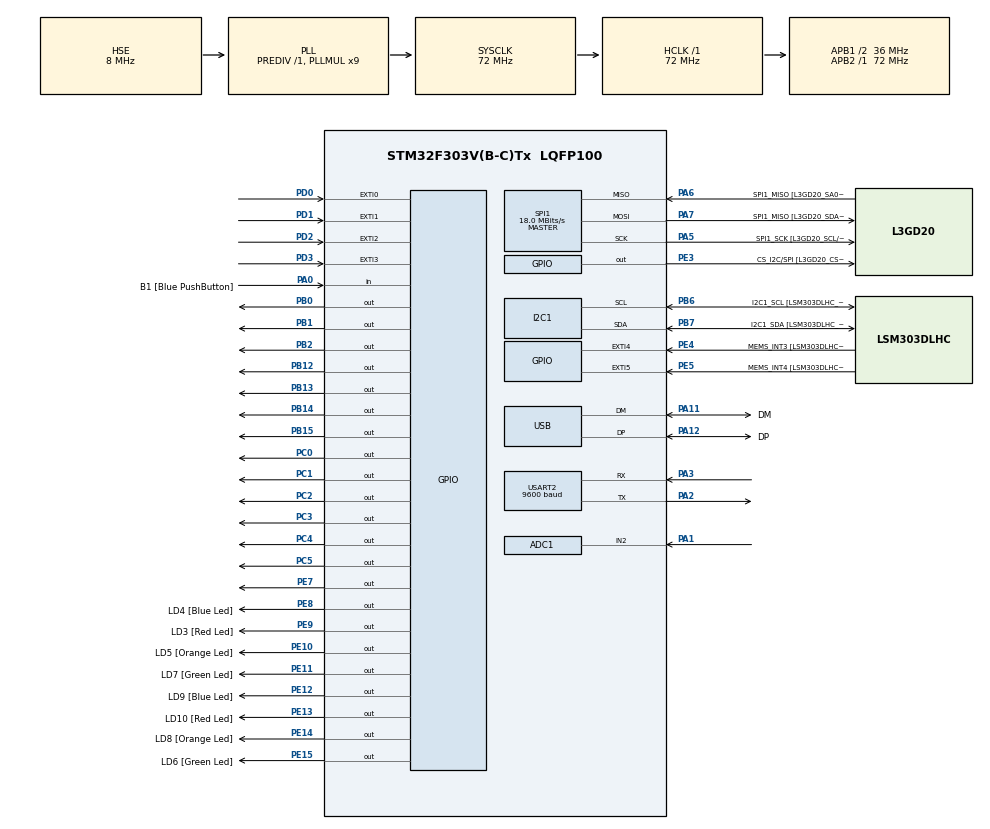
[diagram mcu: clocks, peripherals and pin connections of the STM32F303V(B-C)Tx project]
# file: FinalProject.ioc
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ADC1.Channel-0\#ChannelRegularConversion=ADC_CHANNEL_2
ADC1.NbrOfConversionFlag=1
ADC1.Offset-0\#ChannelRegularConversion=0
ADC1.OffsetNumber-0\#ChannelRegularConversion=ADC_OFFSET_NONE
ADC1.Rank-0\#ChannelRegularConversion=1
ADC1.SamplingTime-0\#ChannelRegularConversion=ADC_SAMPLETIME_601CYCLES_5
ADC1.SamplingTimeOPAMP-0\#ChannelRegularConversion=ADC_SAMPLETIME_19CYCLES_5
ADC1.master=1
I2C1.Timing-I2C=0x2000090E
Mcu.Family=STM32F3
Mcu.Name=STM32F303V(B-C)Tx
Mcu.Package=LQFP100
NVIC.ADC1_2_IRQn=true\:2\:0\:true\:false\:true\:true\:true
NVIC.EXTI0_IRQn=true\:1\:0\:true\:false\:true\:true\:true
NVIC.EXTI1_IRQn=true\:1\:0\:true\:false\:true\:true\:true
NVIC.EXTI2_TSC_IRQn=true\:1\:0\:true\:false\:true\:true\:true
NVIC.EXTI3_IRQn=true\:1\:0\:true\:false\:true\:true\:true
NVIC.PriorityGroup=NVIC_PRIORITYGROUP_2
NVIC.TIM2_IRQn=true\:2\:1\:true\:false\:true\:true\:true
NVIC.TIM3_IRQn=true\:2\:0\:true\:false\:true\:true\:true
NVIC.TIM4_IRQn=true\:1\:0\:true\:false\:true\:true\:true
NVIC.USART2_IRQn=true\:0\:0\:true\:false\:true\:true\:true
PA0.GPIO_Label=B1 [Blue PushButton]
PA0.Signal=GPIO_Input
PA1.Mode=IN2-Single-Ended
PA1.Signal=ADC1_IN2
PA11.GPIO_Label=DM
PA11.Mode=Device
PA11.Signal=USB_DM
PA12.GPIO_Label=DP
PA12.Mode=Device
PA12.Signal=USB_DP
PA13.GPIO_Label=SWDIO
PA13.Mode=Serial_Wire
PA13.Signal=SYS_JTMS-SWDIO
PA14.GPIO_Label=SWCLK
PA14.Mode=Serial_Wire
PA14.Signal=SYS_JTCK-SWCLK
PA2.Mode=Asynchronous
PA2.Signal=USART2_TX
PA3.Mode=Asynchronous
PA3.Signal=USART2_RX
PA5.GPIO_Label=SPI1_SCK [L3GD20_SCL/SPC]
PA5.Mode=Full_Duplex_Master
PA5.Signal=SPI1_SCK
PA6.GPIO_Label=SPI1_MISO [L3GD20_SA0/SDO]
PA6.Mode=Full_Duplex_Master
PA6.Signal=SPI1_MISO
PA7.GPIO_Label=SPI1_MISO [L3GD20_SDA/SDI/SDO]
PA7.Mode=Full_Duplex_Master
PA7.Signal=SPI1_MOSI
PB0.Signal=GPIO_Output
PB1.Signal=GPIO_Output
PB12.Signal=GPIO_Output
PB13.Signal=GPIO_Output
PB14.Signal=GPIO_Output
PB15.Signal=GPIO_Output
PB2.Signal=GPIO_Output
PB3.GPIO_Label=SWO
PB3.Signal=SYS_JTDO-TRACESWO
PB6.GPIO_Label=I2C1_SCL [LSM303DLHC_SCL]
PB6.Mode=I2C
PB6.Signal=I2C1_SCL
PB7.GPIO_Label=I2C1_SDA [LSM303DLHC_SDA]
PB7.Mode=I2C
PB7.Signal=I2C1_SDA
PC0.Signal=GPIO_Output
PC1.Signal=GPIO_Output
PC14-OSC32_IN.GPIO_Label=OSC32_IN
PC14-OSC32_IN.Signal=RCC_OSC32_IN
PC15-OSC32_OUT.GPIO_Label=OSC32_OUT
PC15-OSC32_OUT.Signal=RCC_OSC32_OUT
PC2.Signal=GPIO_Output
PC3.Signal=GPIO_Output
PC4.Signal=GPIO_Output
PC5.Signal=GPIO_Output
PD0.GPIO_PuPd=GPIO_PULLDOWN
PD0.Signal=GPXTI0
PD1.GPIO_PuPd=GPIO_PULLDOWN
PD1.Signal=GPXTI1
PD2.GPIO_PuPd=GPIO_PULLDOWN
PD2.Signal=GPXTI2
PD3.GPIO_PuPd=GPIO_PULLDOWN
PD3.Signal=GPXTI3
PE10.GPIO_Label=LD5 [Orange Led]
PE10.Signal=GPIO_Output
PE11.GPIO_Label=LD7 [Green Led]
PE11.Signal=GPIO_Output
PE12.GPIO_Label=LD9 [Blue Led]
PE12.Signal=GPIO_Output
PE13.GPIO_Label=LD10 [Red Led]
PE13.Signal=GPIO_Output
PE14.GPIO_Label=LD8 [Orange Led]
PE14.Signal=GPIO_Output
PE15.GPIO_Label=LD6 [Green Led]
PE15.Signal=GPIO_Output
PE3.GPIO_Label=CS_I2C/SPI [L3GD20_CS_I2C/SPI]
PE3.Signal=GPIO_Output
PE4.GPIO_Label=MEMS_INT3 [LSM303DLHC_INT1]
PE4.GPIO_ModeDefaultEXTI=GPIO_MODE_EVT_RISING
PE4.Signal=GPXTI4
PE5.GPIO_Label=MEMS_INT4 [LSM303DLHC_INT2]
PE5.GPIO_ModeDefaultEXTI=GPIO_MODE_EVT_RISING
PE5.Signal=GPXTI5
PE7.Signal=GPIO_Output
PE8.GPIO_Label=LD4 [Blue Led]
PE8.Signal=GPIO_Output
PE9.GPIO_Label=LD3 [Red Led]
PE9.Signal=GPIO_Output
PF0-OSC_IN.GPIO_Label=OSC_IN
PF0-OSC_IN.Mode=HSE-External-Clock-Source
PF0-OSC_IN.Signal=RCC_OSC_IN
PF1-OSC_OUT.GPIO_Label=OSC_OUT
PF1-OSC_OUT.Signal=RCC_OSC_OUT
ProjectManager.HeapSize=0x200
ProjectManager.StackSize=0x400
ProjectManager.TargetToolchain=STM32CubeIDE
RCC.AHBFreq_Value=72000000
RCC.APB1CLKDivider=RCC_HCLK_DIV2
RCC.APB1Freq_Value=36000000
RCC.APB1TimFreq_Value=72000000
RCC.APB2Freq_Value=72000000
RCC.APB2TimFreq_Value=72000000
RCC.CortexFreq_Value=72000000
RCC.HCLKFreq_Value=72000000
RCC.HSE_VALUE=8000000
RCC.HSI_VALUE=8000000
RCC.LSE_VALUE=32768
RCC.PLLMUL=RCC_PLL_MUL9
RCC.PRESCALERUSB=RCC_USBCLKSOURCE_PLL_DIV1_5
RCC.SYSCLKFreq_VALUE=72000000
RCC.SYSCLKSourceVirtual=RCC_SYSCLKSOURCE_PLLCLK
RCC.USBFreq_Value=48000000
SPI1.BaudRatePrescaler=SPI_BAUDRATEPRESCALER_4
SPI1.BaudRatePrescaler-Full_Duplex_Master=SPI_BAUDRATEPRESCALER_2
SPI1.CalculateBaudRate=18.0 MBits/s
SPI1.CalculateBaudRate-Full_Duplex_Master=24.0 MBits/s
SPI1.Direction=SPI_DIRECTION_2LINES
SPI1.Mode=SPI_MODE_MASTER
SPI1.Mode-Full_Duplex_Master=SPI_MODE_MASTER
SPI1.VirtualType=VM_MASTER
TIM2.Period=10000
TIM2.Prescaler=3599
TIM3.Period=10000
TIM3.Prescaler=3599
TIM4.Period=100
TIM4.Prescaler=7199
USART2.BaudRate=9600
USART2.VirtualMode-Asynchronous=VM_ASYNC
VP_TIM2_VS_ClockSourceINT.Mode=Internal
VP_TIM3_VS_ClockSourceINT.Mode=Internal
VP_TIM4_VS_ClockSourceINT.Mode=Internal
board=STM32F3DISCOVERY

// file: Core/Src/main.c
/* USER CODE BEGIN Header */
/**
  ******************************************************************************
  * @file           : main.c
  * @brief          : Main program body
  ******************************************************************************
  * @attention
  *
  * <h2><center>&copy; Copyright (c) 2021 STMicroelectronics.
  * All rights reserved.</center></h2>
  *
  * This software component is licensed by ST under BSD 3-Clause license,
  * the "License"; You may not use this file except in compliance with the
  * License. You may obtain a copy of the License at:
  *                        opensource.org/licenses/BSD-3-Clause
  *
  ******************************************************************************
  */
/* USER CODE END Header */
#include "main.h"

/* USER CODE BEGIN Includes */
#include <stdio.h>
#include <stdlib.h>
#include <time.h>
/* USER CODE END Includes */

/* USER CODE BEGIN PM */
uint32_t lastShow = 0;
uint32_t delay123 = 0;
uint32_t delayAdc1 = 0;
uint32_t delaySpeed = 0;
uint32_t jumpDelay = 0;
unsigned char uartData[1];
unsigned char massage[100];
int coinsNumber = 47;
int speed = 35;
int action = 0;
int jump = 0;
int pause = 0;
int four = 1;
int game = 0;
int map[4][60];
int position[2] = {2, 2};
int lastPosition[2] = {2, 2};
int startGamebutton = 0;
int icounter = 0;
int life = 3;
int lastLife = 3;
/* USER CODE END PM */

ADC_HandleTypeDef hadc1;

I2C_HandleTypeDef hi2c1;

SPI_HandleTypeDef hspi1;

TIM_HandleTypeDef htim2;
TIM_HandleTypeDef htim3;
TIM_HandleTypeDef htim4;

UART_HandleTypeDef huart2;

PCD_HandleTypeDef hpcd_USB_FS;

/* USER CODE BEGIN PV */

typedef unsigned char byte;

byte blade[] = {
	0x18,
	0x1C,
	0x1F,
	0x1C,
	0x18,
	0x1C,
	0x1F,
	0x1C
};

byte mario[] = {
  0x0E,
  0x0E,
  0x04,
  0x0E,
  0x1F,
  0x15,
  0x0E,
  0x1B
};

byte brick[] = {
  0x1F,
  0x15,
  0x0A,
  0x15,
  0x0A,
  0x15,
  0x0A,
  0x1F
};

byte box[] = {
  0x1F,
  0x15,
  0x1B,
  0x13,
  0x15,
  0x11,
  0x15,
  0x1F
};

byte ground[] = {
  0x1F,
  0x1B,
  0x0B,
  0x1E,
  0x17,
  0x0F,
  0x1D,
  0x1F
};

byte leftPipe[] = {
  0x1F,
  0x1F,
  0x1F,
  0x1F,
  0x1F,
  0x1F,
  0x0F,
  0x0F
};

byte rightPipe[] = {
  0x1F,
  0x1F,
  0x1F,
  0x1F,
  0x1F,
  0x1F,
  0x1E,
  0x1E
};

byte flag[] = {
  0x1F,
  0x15,
  0x0B,
  0x05,
  0x03,
  0x01,
  0x01,
  0x01
};

/* USER CODE END PV */

void SystemClock_Config(void);
static void MX_GPIO_Init(void);
static void MX_I2C1_Init(void);
static void MX_SPI1_Init(void);
static void MX_USB_PCD_Init(void);
static void MX_USART2_UART_Init(void);
static void MX_ADC1_Init(void);
static void MX_TIM4_Init(void);
static void MX_TIM2_Init(void);
static void MX_TIM3_Init(void);

/* USER CODE BEGIN 0 */

void HAL_GPIO_EXTI_Callback(uint16_t GPIO_Pin)
{
	if(HAL_GetTick() > lastShow + 300 ){

		if (GPIO_Pin == GPIO_PIN_0)
		{
			for(int i = 0 ; i < 4 ; i++){
				HAL_GPIO_WritePin(GPIOC, GPIO_PIN_0, GPIO_PIN_RESET);
				HAL_GPIO_WritePin(GPIOC, GPIO_PIN_1, GPIO_PIN_RESET);
				HAL_GPIO_WritePin(GPIOC, GPIO_PIN_2, GPIO_PIN_RESET);
				HAL_GPIO_WritePin(GPIOC, GPIO_PIN_3, GPIO_PIN_RESET);
				//S1
				if(i == 0){
				  HAL_GPIO_WritePin(GPIOC, GPIO_PIN_0, GPIO_PIN_SET);
				  if(HAL_GPIO_ReadPin(GPIOD, GPIO_PIN_0)){
//					  print("7");
					  action = 7;
				  }
				}
				//S2
				else if(i == 1){
				  HAL_GPIO_WritePin(GPIOC, GPIO_PIN_1, GPIO_PIN_SET);
				  if(HAL_GPIO_ReadPin(GPIOD, GPIO_PIN_0)){
					  if(game == 1 && pause != 1){
						  HAL_GPIO_TogglePin(GPIOE, GPIO_PIN_7);
						  action = 8;
					  }
				  }
				}
				//S3
				else if(i == 2){
				  HAL_GPIO_WritePin(GPIOC, GPIO_PIN_2, GPIO_PIN_SET);
				  if(HAL_GPIO_ReadPin(GPIOD, GPIO_PIN_0)){
//					  print("9");
					  action = 9;
				  }
				}
				//S4
				else if(i == 3){
				  HAL_GPIO_WritePin(GPIOC, GPIO_PIN_3, GPIO_PIN_SET);
				  if(HAL_GPIO_ReadPin(GPIOD, GPIO_PIN_0)){
//					  print("A");
					  life--;
				  }
				}
			}
			HAL_GPIO_WritePin(GPIOC, GPIO_PIN_0, GPIO_PIN_SET);
			HAL_GPIO_WritePin(GPIOC, GPIO_PIN_1, GPIO_PIN_SET);
			HAL_GPIO_WritePin(GPIOC, GPIO_PIN_2, GPIO_PIN_SET);
			HAL_GPIO_WritePin(GPIOC, GPIO_PIN_3, GPIO_PIN_SET);
		}
		if (GPIO_Pin == GPIO_PIN_1)
		{
			for(int i = 0 ; i < 4 ; i++){
				HAL_GPIO_WritePin(GPIOC, GPIO_PIN_0, GPIO_PIN_RESET);
				HAL_GPIO_WritePin(GPIOC, GPIO_PIN_1, GPIO_PIN_RESET);
				HAL_GPIO_WritePin(GPIOC, GPIO_PIN_2, GPIO_PIN_RESET);
				HAL_GPIO_WritePin(GPIOC, GPIO_PIN_3, GPIO_PIN_RESET);
				//S5
				if(i == 0){
				  HAL_GPIO_WritePin(GPIOC, GPIO_PIN_0, GPIO_PIN_SET);
				  if(HAL_GPIO_ReadPin(GPIOD, GPIO_PIN_1)){
//					  print("4");
					  action = 4;
				  }
				}
				//S6
				else if(i == 1){
				  HAL_GPIO_WritePin(GPIOC, GPIO_PIN_1, GPIO_PIN_SET);
				  if(HAL_GPIO_ReadPin(GPIOD, GPIO_PIN_1)){
//					  print("5");
					  if(pause == 0){
						  pause = 1;
					  }else{
						  pause = 0;
					  }
					  action = 5;
				  }
				}
				//S7
				else if(i == 2){
				  HAL_GPIO_WritePin(GPIOC, GPIO_PIN_2, GPIO_PIN_SET);
				  if(HAL_GPIO_ReadPin(GPIOD, GPIO_PIN_1)){
//					  print("6");
					  action = 6;
				  }
				}
				//S8
				else if(i == 3){
				  HAL_GPIO_WritePin(GPIOC, GPIO_PIN_3, GPIO_PIN_SET);
				  if(HAL_GPIO_ReadPin(GPIOD, GPIO_PIN_1)){
//					  print("B");
				  }
				}
			}
			HAL_GPIO_WritePin(GPIOC, GPIO_PIN_0, GPIO_PIN_SET);
			HAL_GPIO_WritePin(GPIOC, GPIO_PIN_1, GPIO_PIN_SET);
			HAL_GPIO_WritePin(GPIOC, GPIO_PIN_2, GPIO_PIN_SET);
			HAL_GPIO_WritePin(GPIOC, GPIO_PIN_3, GPIO_PIN_SET);
		}
		if (GPIO_Pin == GPIO_PIN_2)
		{
			for(int i = 0 ; i < 4 ; i++){
				HAL_GPIO_WritePin(GPIOC, GPIO_PIN_0, GPIO_PIN_RESET);
				HAL_GPIO_WritePin(GPIOC, GPIO_PIN_1, GPIO_PIN_RESET);
				HAL_GPIO_WritePin(GPIOC, GPIO_PIN_2, GPIO_PIN_RESET);
				HAL_GPIO_WritePin(GPIOC, GPIO_PIN_3, GPIO_PIN_RESET);
				//S9
				if(i == 0){
				  HAL_GPIO_WritePin(GPIOC, GPIO_PIN_0, GPIO_PIN_SET);
				  if(HAL_GPIO_ReadPin(GPIOD, GPIO_PIN_2)){
//					  print("1");
					  action = 1;
				  }
				}
				//S10
				else if(i == 1){
				  HAL_GPIO_WritePin(GPIOC, GPIO_PIN_1, GPIO_PIN_SET);
				  if(HAL_GPIO_ReadPin(GPIOD, GPIO_PIN_2)){
//					  print("2");
					  action = 2;
				  }
				}
				//S11
				else if(i == 2){
				  HAL_GPIO_WritePin(GPIOC, GPIO_PIN_2, GPIO_PIN_SET);
				  if(HAL_GPIO_ReadPin(GPIOD, GPIO_PIN_2)){
//					  print("3");
					  action = 3;
				  }
				}
				//S12
				else if(i == 3){
				  HAL_GPIO_WritePin(GPIOC, GPIO_PIN_3, GPIO_PIN_SET);
				  if(HAL_GPIO_ReadPin(GPIOD, GPIO_PIN_2)){
//					  print("C");
				  }
				}
			}
			HAL_GPIO_WritePin(GPIOC, GPIO_PIN_0, GPIO_PIN_SET);
			HAL_GPIO_WritePin(GPIOC, GPIO_PIN_1, GPIO_PIN_SET);
			HAL_GPIO_WritePin(GPIOC, GPIO_PIN_2, GPIO_PIN_SET);
			HAL_GPIO_WritePin(GPIOC, GPIO_PIN_3, GPIO_PIN_SET);
		}
		if (GPIO_Pin == GPIO_PIN_3)
		{
			for(int i = 0 ; i < 4 ; i++){
				HAL_GPIO_WritePin(GPIOC, GPIO_PIN_0, GPIO_PIN_RESET);
				HAL_GPIO_WritePin(GPIOC, GPIO_PIN_1, GPIO_PIN_RESET);
				HAL_GPIO_WritePin(GPIOC, GPIO_PIN_2, GPIO_PIN_RESET);
				HAL_GPIO_WritePin(GPIOC, GPIO_PIN_3, GPIO_PIN_RESET);
				//S13
				if(i == 0){
				  HAL_GPIO_WritePin(GPIOC, GPIO_PIN_0, GPIO_PIN_SET);
				  if(HAL_GPIO_ReadPin(GPIOD, GPIO_PIN_3)){
//					  print("E");
					  game = 2;
				  }
				}
				//S14
				else if(i == 1){
				  HAL_GPIO_WritePin(GPIOC, GPIO_PIN_1, GPIO_PIN_SET);
				  if(HAL_GPIO_ReadPin(GPIOD, GPIO_PIN_3)){
//					  print("0");
					  action = 0;
				  }
				}
				//S15
				else if(i == 2){
				  HAL_GPIO_WritePin(GPIOC, GPIO_PIN_2, GPIO_PIN_SET);
				  if(HAL_GPIO_ReadPin(GPIOD, GPIO_PIN_3)){
//					  print("S");
					  if(game == 0){
						  startGamebutton = 1;
						  coinsNumber = 0;
					  }
				  	}
				}
				//S16
				else if(i == 3){
				  HAL_GPIO_WritePin(GPIOC, GPIO_PIN_3, GPIO_PIN_SET);
				  if(HAL_GPIO_ReadPin(GPIOD, GPIO_PIN_3)){
//					  print("D");
					  coinsNumber++;
				  }
				}
			}
			HAL_GPIO_WritePin(GPIOC, GPIO_PIN_0, GPIO_PIN_SET);
			HAL_GPIO_WritePin(GPIOC, GPIO_PIN_1, GPIO_PIN_SET);
			HAL_GPIO_WritePin(GPIOC, GPIO_PIN_2, GPIO_PIN_SET);
			HAL_GPIO_WritePin(GPIOC, GPIO_PIN_3, GPIO_PIN_SET);
		}

		lastShow = HAL_GetTick();
	}

}

void HAL_UART_RxCpltCallback(UART_HandleTypeDef *huart)
{
    if (huart->Instance == USART2)
    {
    	switch (uartData[0]){
    		case '1':
    			//TODO
    			action = 1;
    			break;
    		case '2':
    			//TODO
    			action = 2;
    			break;
    		case '3':
    			//TODO
    			action = 3;
    			break;
    		case '4':
    			//TODO
    			action = 4;
    			break;
    		case '5':
    			//TODO
				if(pause == 0){
					pause = 1;
				}else{
					pause = 0;
				}
    			action = 5;
    			break;
    		case '6':
    			//TODO
    			action = 6;
    			break;
    		case '7':
    			//TODO
    			action = 7;
    			break;
    		case '8':
    			//TODO
    			HAL_GPIO_TogglePin(GPIOE, GPIO_PIN_7);
    			action = 8;
    			break;
    		case '9':
    			//TODO
    			action = 9;
    			break;
    	}
        HAL_UART_Receive_IT(&huart2, uartData, sizeof(uartData));
    }
}

void HAL_TIM_PeriodElapsedCallback(TIM_HandleTypeDef *htim)
{
	////Mario
	if (htim->Instance == TIM3)
	{

		if(game == 1 && pause == 0){

			lastPosition[0] = position[0];
			lastPosition[1] = position[1];

			if(life == 2 && lastLife == 3){
				HAL_GPIO_WritePin(GPIOE, GPIO_PIN_11, 0);
				lastLife = 2;
			}
			if(life == 1  && lastLife == 2){
				HAL_GPIO_WritePin(GPIOE, GPIO_PIN_10, 0);
				lastLife = 1;
			}
			if(life == 0  && lastLife == 1){
				HAL_GPIO_WritePin(GPIOE, GPIO_PIN_9, 0);
//				game = 2;
				lastLife = 0;
				pause = 1;
				setCursor(1, 1);
				print("Life = 0 Game Over");
			}

			if(position[1] > icounter){
				setCursor(position[1] - icounter, position[0]);
				write(1);
			}
//			else{
//				setCursor(position[1] - icounter + 1, position[0]);
//				print(" ");
//				game = 2;
//			}
			switch(action){
				case 9:

					break;
				case 8:
					  if(map[position[0] - 1][position[1]] == -1){
						  if(map[position[0] - 2][position[1]] == -1){
							  jump = 2;
						  }else{
							  jump = 1;
						  }
					  }
					break;
				case 7:

					break;
				case 6:
					  if(map[position[0]][position[1] + 1] == -1){
//						  lastPosition[0] = position[0];
//						  lastPosition[1] = position[1];
						  position[1]++;
//						  map[lastPosition[0]][lastPosition[1]] = -1;
	//					  map[position[0]][position[1]] = 1;
					  }
					break;
				case 5:

					break;
				case 4:

					break;
				case 3:

					break;
				case 2:

					break;
				case 1:

					break;
				case 0:

					break;
			}
			action = 0;
			if(HAL_GetTick() > jumpDelay + (speed * 30) )
				if(jump != 0){
					if(jump == 1){

					}
					if(jump == 2){

					}
				}

			jumpDelay = HAL_GetTick();
		}
	}

	////Playground
	if (htim->Instance == TIM2)
	{
		////Behind The Game
		if(game == 0){
			if(startGamebutton == 1){
				//Set Values
				game = 1;
				startGamebutton = 0;

				HAL_GPIO_WritePin(GPIOE, GPIO_PIN_11, 1);
				HAL_GPIO_WritePin(GPIOE, GPIO_PIN_10, 1);
				HAL_GPIO_WritePin(GPIOE, GPIO_PIN_9, 1);
				//// Generating Random Map
			    srand(HAL_ADC_GetValue(&hadc1));
			    //pre-arranged
			    for(int i = 0 ; i < 4 ; i++){
			    	for(int j = 0 ; j < 60 ; j++){
			    		map[i][j] = -1;
			    	}
			    }
				map[3][0] = 4;
				map[3][1] = 4;
				map[3][2] = 4;
				map[3][3] = 4;
				map[2][0] = 0;
				map[1][0] = 0;
				map[0][0] = 0;
				map[2][58] = 7;
				//row 3
				for(int i = 4 ; i < 60 ; i++){
					int temp = 4*(rand()%5);
					if(temp == 0){
						map[3][i] = -1;
					}else{
						map[3][i] = 4;
					}

				}
				//row 2
				for(int i = 5 ; i < 56 ; i++){
					int temp = 5*(rand()%2);
					if(temp != 0 && map[2][i-1] != 6){
						if(map[3][i] == 4 && map[3][i+1] == 4 ){
							map[2][i] = 5;
							i++;
							map[2][i] = 6;
						}
					}
				}
				//row 0
				for(int i = 3 ; i < 56 ; i++){
					int temp = 2*(rand()%3);
					if(temp == 2){
						map[0][i] = 2;
					}
					if(temp == 4){
						map[0][i] = 3;
					}
				}
				////Finish Generation

				clear();
				position[0] = 2;
				position[0] = 2;
				lastPosition[0] = 2;
				lastPosition[1] = 2;

			}
		}

		//// On the Game
		if(game == 1 && pause == 0){

			//**
			//Show the start

			if(icounter < 41 && HAL_GetTick() >= delaySpeed + 400 - (speed * 20)){
				setCursor(0, 3);
				write(map[3][icounter]);
				for(int j = 1 ; j < 20 ; j++){
					for(int k = 0 ; k < 4 ; k++){
						if(!((position[0] == k) && (position[1] == j + icounter))){
							if(map[k][j + icounter] != -1){
								setCursor(j, k);
								write(map[k][j + icounter]);
							}else{
								if(map[k][j + icounter - 1] != -1){
									setCursor(j, k);
									print(" ");
								}
							}
						}else{
							if(position[1] < icounter + 1){
								game = 2;
							}
						}
					}
				}
				for(int l = 0 ; l < 3 ; l++){
					setCursor(0, l);
					write(0);
				}

				icounter++;
			}
			//Game Over
			if (game == 2){
				setCursor(4, 1);
				sprintf(massage, "SPEED : %d", speed);
				print(massage);
				setCursor(4, 2);
				sprintf(massage, "SCORE : %d", coinsNumber);
				print(massage);
				setCursor(4, 3);
				print("Game Over");
			}

			////End Show
			// Win
			if( position[0] == 2 && position[1] == 58){
				game = 3;
			}
			if(game == 3 || icounter >= 41){
				clear();
				setCursor(4, 0);
				write(0xfc);
				setCursor(4, 1);
				sprintf(massage, "SPEED : %d", speed);
				print(massage);
				setCursor(4, 2);
				sprintf(massage, "SCORE : %d", coinsNumber);
				print(massage);
				setCursor(2, 3);
				print("Congratulations !");
			}

			delaySpeed = HAL_GetTick();

		}
	}
    if (htim->Instance == TIM4)
    {
		switch (four){
			case 1 :
				HAL_GPIO_WritePin(GPIOB, GPIO_PIN_12 , 1);
				HAL_GPIO_WritePin(GPIOB, GPIO_PIN_15 , 0);
				//write your code to do when first LED on
				int temp = speed / 10;
				toBCDConverter(temp % 10);
				four++;
				break;
			case 2 :
				HAL_GPIO_WritePin(GPIOB, GPIO_PIN_15 , 1);
				HAL_GPIO_WritePin(GPIOB, GPIO_PIN_14 , 0);
				HAL_GPIO_WritePin(GPIOB, GPIO_PIN_2 , 1);
				//write your code to do when second LED on
				toBCDConverter(speed % 10);
				four++;
				break;
			case 3 :
				HAL_GPIO_WritePin(GPIOB, GPIO_PIN_2 , 0);
				HAL_GPIO_WritePin(GPIOB, GPIO_PIN_14 , 1);
				HAL_GPIO_WritePin(GPIOB, GPIO_PIN_13 , 0);
				//write your code to do when thrid LED on
				temp = coinsNumber / 10;
				toBCDConverter(temp % 10);
				four++;
				break;
			case 4 :
				HAL_GPIO_WritePin(GPIOB, GPIO_PIN_13 , 1);
				HAL_GPIO_WritePin(GPIOB, GPIO_PIN_12 , 0);
				//write your code to do when forth LED on
				toBCDConverter(coinsNumber % 10);
				four = 1;
				break;
		}

    }

}

void HAL_ADC_ConvCpltCallback(ADC_HandleTypeDef *hadc)
{
    if (hadc->Instance == ADC1)
    {
//    	if(HAL_GetTick() >= delayAdc1 + 250 ){

			int x = HAL_ADC_GetValue(&hadc1);
			speed = (x*15/4014)+5;
			unsigned char data[100] = "";
			int n = sprintf(data, "%d : %d\n", x, speed);
			HAL_UART_Transmit(&huart2, data, n, 1000);

//    	}
//			float fx = ((float) x * 100/4014);

//			HAL_UART_Transmit(&huart2, data, n, 1000);
//    	}

//    	delayAdc1 = HAL_GetTick();
		HAL_ADC_Start_IT(&hadc1);

    }
}

void toBCDConverter(int i){
	int x1 = i & 1;
	int x2 = i & 2;
	int x3 = i & 4;
	int x4 = i & 8;
	if(x1 > 0) x1 = 1;
	if(x2 > 0) x2 = 1;
	if(x3 > 0) x3 = 1;
	if(x4 > 0) x4 = 1;
	HAL_GPIO_WritePin(GPIOC, GPIO_PIN_4, x1);
	HAL_GPIO_WritePin(GPIOC, GPIO_PIN_5, x2);
	HAL_GPIO_WritePin(GPIOB, GPIO_PIN_0, x3);
	HAL_GPIO_WritePin(GPIOB, GPIO_PIN_1, x4);
}

/* USER CODE END 0 */

int main(void)
{

  /* MCU Configuration--------------------------------------------------------*/

  /* Reset of all peripherals, Initializes the Flash interface and the Systick. */
  HAL_Init();

  /* Configure the system clock */
  SystemClock_Config();

  /* Initialize all configured peripherals */
  MX_GPIO_Init();
  MX_I2C1_Init();
  MX_SPI1_Init();
  MX_USB_PCD_Init();
  MX_USART2_UART_Init();
  MX_ADC1_Init();
  MX_TIM4_Init();
  MX_TIM2_Init();
  MX_TIM3_Init();
  /* USER CODE BEGIN 2 */

  LiquidCrystal(GPIOD, GPIO_PIN_8, GPIO_PIN_9, GPIO_PIN_10, GPIO_PIN_11, GPIO_PIN_12, GPIO_PIN_13, GPIO_PIN_14);
  begin(20, 4);

  HAL_ADC_Start_IT(&hadc1);
  HAL_TIM_Base_Start_IT(&htim2);
  HAL_TIM_Base_Start_IT(&htim3);
  HAL_TIM_Base_Start_IT(&htim4);
  HAL_UART_Receive_IT(&huart2, uartData, sizeof(uartData));
  HAL_GPIO_WritePin(GPIOE, GPIO_PIN_7, 1);
  /* USER CODE END 2 */

  /* Infinite loop */
  /* USER CODE BEGIN WHILE */
  HAL_GPIO_WritePin(GPIOC, GPIO_PIN_0, GPIO_PIN_SET);
  HAL_GPIO_WritePin(GPIOC, GPIO_PIN_1, GPIO_PIN_SET);
  HAL_GPIO_WritePin(GPIOC, GPIO_PIN_2, GPIO_PIN_SET);
  HAL_GPIO_WritePin(GPIOC, GPIO_PIN_3, GPIO_PIN_SET);

  createChar(0, blade);
  createChar(1, mario);
  createChar(2, brick);
  createChar(3, box);
  createChar(4, ground);
  createChar(5, leftPipe);
  createChar(6, rightPipe);
  createChar(7, flag);

	setCursor(2, 2);
	write(1);
	setCursor(0, 3);
	write(4);
	setCursor(1, 3);
	write(4);
	setCursor(2, 3);
	write(4);
	setCursor(3, 3);
	write(4);
	setCursor(0, 2);
	write(0);
	setCursor(0, 1);
	write(0);
	setCursor(0, 0);
	write(0);
	setCursor(19, 2);
	write(7);
	//row 3
	for(int i = 4 ; i < 20 ; i++){
		int temp = 4*(rand()%5);
		if(temp != 0){
			setCursor(i, 3);
			write(4);
		}
	}
	//row 2
	for(int i = 5 ; i < 16 ; i++){
		int temp = 5*(rand()%5);
		if(temp == 0){
			setCursor(i, 2);
			write(5);
			i++;
			setCursor(i, 2);
			write(6);
		}
	}
	//row 0
	for(int i = 3 ; i < 16 ; i++){
		int temp = 2*(rand()%3);
		if(temp == 2){
			setCursor(i, 0);
			write(2);
		}
		if(temp == 4){
			setCursor(i, 0);
			write(3);
		}
	}

	setCursor(2, 1);
	print("Press S To Start");
	setCursor(5, 1);

  while (1)
  {
    /* USER CODE END WHILE */

  }
}

void SystemClock_Config(void)
{
  RCC_OscInitTypeDef RCC_OscInitStruct = {0};
  RCC_ClkInitTypeDef RCC_ClkInitStruct = {0};
  RCC_PeriphCLKInitTypeDef PeriphClkInit = {0};

  /** Initializes the RCC Oscillators according to the specified parameters
  * in the RCC_OscInitTypeDef structure.
  */
  RCC_OscInitStruct.OscillatorType = RCC_OSCILLATORTYPE_HSI|RCC_OSCILLATORTYPE_HSE;
  RCC_OscInitStruct.HSEState = RCC_HSE_BYPASS;
  RCC_OscInitStruct.HSEPredivValue = RCC_HSE_PREDIV_DIV1;
  RCC_OscInitStruct.HSIState = RCC_HSI_ON;
  RCC_OscInitStruct.HSICalibrationValue = RCC_HSICALIBRATION_DEFAULT;
  RCC_OscInitStruct.PLL.PLLState = RCC_PLL_ON;
  RCC_OscInitStruct.PLL.PLLSource = RCC_PLLSOURCE_HSE;
  RCC_OscInitStruct.PLL.PLLMUL = RCC_PLL_MUL9;
  if (HAL_RCC_OscConfig(&RCC_OscInitStruct) != HAL_OK)
  {
    Error_Handler();
  }
  /** Initializes the CPU, AHB and APB buses clocks
  */
  RCC_ClkInitStruct.ClockType = RCC_CLOCKTYPE_HCLK|RCC_CLOCKTYPE_SYSCLK
                              |RCC_CLOCKTYPE_PCLK1|RCC_CLOCKTYPE_PCLK2;
  RCC_ClkInitStruct.SYSCLKSource = RCC_SYSCLKSOURCE_PLLCLK;
  RCC_ClkInitStruct.AHBCLKDivider = RCC_SYSCLK_DIV1;
  RCC_ClkInitStruct.APB1CLKDivider = RCC_HCLK_DIV2;
  RCC_ClkInitStruct.APB2CLKDivider = RCC_HCLK_DIV1;

  if (HAL_RCC_ClockConfig(&RCC_ClkInitStruct, FLASH_LATENCY_2) != HAL_OK)
  {
    Error_Handler();
  }
  PeriphClkInit.PeriphClockSelection = RCC_PERIPHCLK_USB|RCC_PERIPHCLK_USART2
                              |RCC_PERIPHCLK_I2C1|RCC_PERIPHCLK_ADC12;
  PeriphClkInit.Usart2ClockSelection = RCC_USART2CLKSOURCE_PCLK1;
  PeriphClkInit.Adc12ClockSelection = RCC_ADC12PLLCLK_DIV1;
  PeriphClkInit.I2c1ClockSelection = RCC_I2C1CLKSOURCE_HSI;
  PeriphClkInit.USBClockSelection = RCC_USBCLKSOURCE_PLL_DIV1_5;
  if (HAL_RCCEx_PeriphCLKConfig(&PeriphClkInit) != HAL_OK)
  {
    Error_Handler();
  }
}

static void MX_ADC1_Init(void)
{

  ADC_MultiModeTypeDef multimode = {0};
  ADC_ChannelConfTypeDef sConfig = {0};

  /** Common config
  */
  hadc1.Instance = ADC1;
  hadc1.Init.ClockPrescaler = ADC_CLOCK_ASYNC_DIV1;
  hadc1.Init.Resolution = ADC_RESOLUTION_12B;
  hadc1.Init.ScanConvMode = ADC_SCAN_DISABLE;
  hadc1.Init.ContinuousConvMode = DISABLE;
  hadc1.Init.DiscontinuousConvMode = DISABLE;
  hadc1.Init.ExternalTrigConvEdge = ADC_EXTERNALTRIGCONVEDGE_NONE;
  hadc1.Init.ExternalTrigConv = ADC_SOFTWARE_START;
  hadc1.Init.DataAlign = ADC_DATAALIGN_RIGHT;
  hadc1.Init.NbrOfConversion = 1;
  hadc1.Init.DMAContinuousRequests = DISABLE;
  hadc1.Init.EOCSelection = ADC_EOC_SINGLE_CONV;
  hadc1.Init.LowPowerAutoWait = DISABLE;
  hadc1.Init.Overrun = ADC_OVR_DATA_OVERWRITTEN;
  if (HAL_ADC_Init(&hadc1) != HAL_OK)
  {
    Error_Handler();
  }
  /** Configure the ADC multi-mode
  */
  multimode.Mode = ADC_MODE_INDEPENDENT;
  if (HAL_ADCEx_MultiModeConfigChannel(&hadc1, &multimode) != HAL_OK)
  {
    Error_Handler();
  }
  /** Configure Regular Channel
  */
  sConfig.Channel = ADC_CHANNEL_2;
  sConfig.Rank = ADC_REGULAR_RANK_1;
  sConfig.SingleDiff = ADC_SINGLE_ENDED;
  sConfig.SamplingTime = ADC_SAMPLETIME_601CYCLES_5;
  sConfig.OffsetNumber = ADC_OFFSET_NONE;
  sConfig.Offset = 0;
  if (HAL_ADC_ConfigChannel(&hadc1, &sConfig) != HAL_OK)
  {
    Error_Handler();
  }

}

static void MX_I2C1_Init(void)
{

  hi2c1.Instance = I2C1;
  hi2c1.Init.Timing = 0x2000090E;
  hi2c1.Init.OwnAddress1 = 0;
  hi2c1.Init.AddressingMode = I2C_ADDRESSINGMODE_7BIT;
  hi2c1.Init.DualAddressMode = I2C_DUALADDRESS_DISABLE;
  hi2c1.Init.OwnAddress2 = 0;
  hi2c1.Init.OwnAddress2Masks = I2C_OA2_NOMASK;
  hi2c1.Init.GeneralCallMode = I2C_GENERALCALL_DISABLE;
  hi2c1.Init.NoStretchMode = I2C_NOSTRETCH_DISABLE;
  if (HAL_I2C_Init(&hi2c1) != HAL_OK)
  {
    Error_Handler();
  }
  /** Configure Analogue filter
  */
  if (HAL_I2CEx_ConfigAnalogFilter(&hi2c1, I2C_ANALOGFILTER_ENABLE) != HAL_OK)
  {
    Error_Handler();
  }
  /** Configure Digital filter
  */
  if (HAL_I2CEx_ConfigDigitalFilter(&hi2c1, 0) != HAL_OK)
  {
    Error_Handler();
  }

}

static void MX_SPI1_Init(void)
{

  /* SPI1 parameter configuration*/
  hspi1.Instance = SPI1;
  hspi1.Init.Mode = SPI_MODE_MASTER;
  hspi1.Init.Direction = SPI_DIRECTION_2LINES;
  hspi1.Init.DataSize = SPI_DATASIZE_4BIT;
  hspi1.Init.CLKPolarity = SPI_POLARITY_LOW;
  hspi1.Init.CLKPhase = SPI_PHASE_1EDGE;
  hspi1.Init.NSS = SPI_NSS_SOFT;
  hspi1.Init.BaudRatePrescaler = SPI_BAUDRATEPRESCALER_4;
  hspi1.Init.FirstBit = SPI_FIRSTBIT_MSB;
  hspi1.Init.TIMode = SPI_TIMODE_DISABLE;
  hspi1.Init.CRCCalculation = SPI_CRCCALCULATION_DISABLE;
  hspi1.Init.CRCPolynomial = 7;
  hspi1.Init.CRCLength = SPI_CRC_LENGTH_DATASIZE;
  hspi1.Init.NSSPMode = SPI_NSS_PULSE_ENABLE;
  if (HAL_SPI_Init(&hspi1) != HAL_OK)
  {
    Error_Handler();
  }

}

static void MX_TIM2_Init(void)
{

  TIM_ClockConfigTypeDef sClockSourceConfig = {0};
  TIM_MasterConfigTypeDef sMasterConfig = {0};

  htim2.Instance = TIM2;
  htim2.Init.Prescaler = 3599;
  htim2.Init.CounterMode = TIM_COUNTERMODE_UP;
  htim2.Init.Period = 10000;
  htim2.Init.ClockDivision = TIM_CLOCKDIVISION_DIV1;
  htim2.Init.AutoReloadPreload = TIM_AUTORELOAD_PRELOAD_DISABLE;
  if (HAL_TIM_Base_Init(&htim2) != HAL_OK)
  {
    Error_Handler();
  }
  sClockSourceConfig.ClockSource = TIM_CLOCKSOURCE_INTERNAL;
  if (HAL_TIM_ConfigClockSource(&htim2, &sClockSourceConfig) != HAL_OK)
  {
    Error_Handler();
  }
  sMasterConfig.MasterOutputTrigger = TIM_TRGO_RESET;
  sMasterConfig.MasterSlaveMode = TIM_MASTERSLAVEMODE_DISABLE;
  if (HAL_TIMEx_MasterConfigSynchronization(&htim2, &sMasterConfig) != HAL_OK)
  {
    Error_Handler();
  }

}

static void MX_TIM3_Init(void)
{

  TIM_ClockConfigTypeDef sClockSourceConfig = {0};
  TIM_MasterConfigTypeDef sMasterConfig = {0};

  htim3.Instance = TIM3;
  htim3.Init.Prescaler = 3599;
  htim3.Init.CounterMode = TIM_COUNTERMODE_UP;
  htim3.Init.Period = 10000;
  htim3.Init.ClockDivision = TIM_CLOCKDIVISION_DIV1;
  htim3.Init.AutoReloadPreload = TIM_AUTORELOAD_PRELOAD_DISABLE;
  if (HAL_TIM_Base_Init(&htim3) != HAL_OK)
  {
    Error_Handler();
  }
  sClockSourceConfig.ClockSource = TIM_CLOCKSOURCE_INTERNAL;
  if (HAL_TIM_ConfigClockSource(&htim3, &sClockSourceConfig) != HAL_OK)
  {
    Error_Handler();
  }
  sMasterConfig.MasterOutputTrigger = TIM_TRGO_RESET;
  sMasterConfig.MasterSlaveMode = TIM_MASTERSLAVEMODE_DISABLE;
  if (HAL_TIMEx_MasterConfigSynchronization(&htim3, &sMasterConfig) != HAL_OK)
  {
    Error_Handler();
  }

}

static void MX_TIM4_Init(void)
{

  TIM_ClockConfigTypeDef sClockSourceConfig = {0};
  TIM_MasterConfigTypeDef sMasterConfig = {0};

  htim4.Instance = TIM4;
  htim4.Init.Prescaler = 7199;
  htim4.Init.CounterMode = TIM_COUNTERMODE_UP;
  htim4.Init.Period = 100;
  htim4.Init.ClockDivision = TIM_CLOCKDIVISION_DIV1;
  htim4.Init.AutoReloadPreload = TIM_AUTORELOAD_PRELOAD_DISABLE;
  if (HAL_TIM_Base_Init(&htim4) != HAL_OK)
  {
    Error_Handler();
  }
  sClockSourceConfig.ClockSource = TIM_CLOCKSOURCE_INTERNAL;
  if (HAL_TIM_ConfigClockSource(&htim4, &sClockSourceConfig) != HAL_OK)
  {
    Error_Handler();
  }
  sMasterConfig.MasterOutputTrigger = TIM_TRGO_RESET;
  sMasterConfig.MasterSlaveMode = TIM_MASTERSLAVEMODE_DISABLE;
  if (HAL_TIMEx_MasterConfigSynchronization(&htim4, &sMasterConfig) != HAL_OK)
  {
    Error_Handler();
  }

}

static void MX_USART2_UART_Init(void)
{

  huart2.Instance = USART2;
  huart2.Init.BaudRate = 9600;
  huart2.Init.WordLength = UART_WORDLENGTH_8B;
  huart2.Init.StopBits = UART_STOPBITS_1;
  huart2.Init.Parity = UART_PARITY_NONE;
  huart2.Init.Mode = UART_MODE_TX_RX;
  huart2.Init.HwFlowCtl = UART_HWCONTROL_NONE;
  huart2.Init.OverSampling = UART_OVERSAMPLING_16;
  huart2.Init.OneBitSampling = UART_ONE_BIT_SAMPLE_DISABLE;
  huart2.AdvancedInit.AdvFeatureInit = UART_ADVFEATURE_NO_INIT;
  if (HAL_UART_Init(&huart2) != HAL_OK)
  {
    Error_Handler();
  }

}

static void MX_USB_PCD_Init(void)
{

  hpcd_USB_FS.Instance = USB;
  hpcd_USB_FS.Init.dev_endpoints = 8;
  hpcd_USB_FS.Init.speed = PCD_SPEED_FULL;
  hpcd_USB_FS.Init.phy_itface = PCD_PHY_EMBEDDED;
  hpcd_USB_FS.Init.low_power_enable = DISABLE;
  hpcd_USB_FS.Init.battery_charging_enable = DISABLE;
  if (HAL_PCD_Init(&hpcd_USB_FS) != HAL_OK)
  {
    Error_Handler();
  }

}

static void MX_GPIO_Init(void)
{
  GPIO_InitTypeDef GPIO_InitStruct = {0};

  /* GPIO Ports Clock Enable */
  __HAL_RCC_GPIOE_CLK_ENABLE();
  __HAL_RCC_GPIOC_CLK_ENABLE();
  __HAL_RCC_GPIOF_CLK_ENABLE();
  __HAL_RCC_GPIOA_CLK_ENABLE();
  __HAL_RCC_GPIOB_CLK_ENABLE();
  __HAL_RCC_GPIOD_CLK_ENABLE();

  /*Configure GPIO pin Output Level */
  HAL_GPIO_WritePin(GPIOE, CS_I2C_SPI_Pin|GPIO_PIN_7|LD4_Pin|LD3_Pin
                          |LD5_Pin|LD7_Pin|LD9_Pin|LD10_Pin
                          |LD8_Pin|LD6_Pin, GPIO_PIN_RESET);

  /*Configure GPIO pin Output Level */
  HAL_GPIO_WritePin(GPIOC, GPIO_PIN_0|GPIO_PIN_1|GPIO_PIN_2|GPIO_PIN_3
                          |GPIO_PIN_4|GPIO_PIN_5, GPIO_PIN_RESET);

  /*Configure GPIO pin Output Level */
  HAL_GPIO_WritePin(GPIOB, GPIO_PIN_0|GPIO_PIN_1|GPIO_PIN_2|GPIO_PIN_12
                          |GPIO_PIN_13|GPIO_PIN_14|GPIO_PIN_15, GPIO_PIN_RESET);

  /*Configure GPIO pins : CS_I2C_SPI_Pin PE7 LD4_Pin LD3_Pin
                           LD5_Pin LD7_Pin LD9_Pin LD10_Pin
                           LD8_Pin LD6_Pin */
  GPIO_InitStruct.Pin = CS_I2C_SPI_Pin|GPIO_PIN_7|LD4_Pin|LD3_Pin
                          |LD5_Pin|LD7_Pin|LD9_Pin|LD10_Pin
                          |LD8_Pin|LD6_Pin;
  GPIO_InitStruct.Mode = GPIO_MODE_OUTPUT_PP;
  GPIO_InitStruct.Pull = GPIO_NOPULL;
  GPIO_InitStruct.Speed = GPIO_SPEED_FREQ_LOW;
  HAL_GPIO_Init(GPIOE, &GPIO_InitStruct);

  /*Configure GPIO pins : MEMS_INT3_Pin MEMS_INT4_Pin */
  GPIO_InitStruct.Pin = MEMS_INT3_Pin|MEMS_INT4_Pin;
  GPIO_InitStruct.Mode = GPIO_MODE_EVT_RISING;
  GPIO_InitStruct.Pull = GPIO_NOPULL;
  HAL_GPIO_Init(GPIOE, &GPIO_InitStruct);

  /*Configure GPIO pins : PC0 PC1 PC2 PC3
                           PC4 PC5 */
  GPIO_InitStruct.Pin = GPIO_PIN_0|GPIO_PIN_1|GPIO_PIN_2|GPIO_PIN_3
                          |GPIO_PIN_4|GPIO_PIN_5;
  GPIO_InitStruct.Mode = GPIO_MODE_OUTPUT_PP;
  GPIO_InitStruct.Pull = GPIO_NOPULL;
  GPIO_InitStruct.Speed = GPIO_SPEED_FREQ_LOW;
  HAL_GPIO_Init(GPIOC, &GPIO_InitStruct);

  /*Configure GPIO pin : B1_Pin */
  GPIO_InitStruct.Pin = B1_Pin;
  GPIO_InitStruct.Mode = GPIO_MODE_INPUT;
  GPIO_InitStruct.Pull = GPIO_NOPULL;
  HAL_GPIO_Init(B1_GPIO_Port, &GPIO_InitStruct);

  /*Configure GPIO pins : PB0 PB1 PB2 PB12
                           PB13 PB14 PB15 */
  GPIO_InitStruct.Pin = GPIO_PIN_0|GPIO_PIN_1|GPIO_PIN_2|GPIO_PIN_12
                          |GPIO_PIN_13|GPIO_PIN_14|GPIO_PIN_15;
  GPIO_InitStruct.Mode = GPIO_MODE_OUTPUT_PP;
  GPIO_InitStruct.Pull = GPIO_NOPULL;
  GPIO_InitStruct.Speed = GPIO_SPEED_FREQ_LOW;
  HAL_GPIO_Init(GPIOB, &GPIO_InitStruct);

  /*Configure GPIO pins : PD0 PD1 PD2 PD3 */
  GPIO_InitStruct.Pin = GPIO_PIN_0|GPIO_PIN_1|GPIO_PIN_2|GPIO_PIN_3;
  GPIO_InitStruct.Mode = GPIO_MODE_IT_RISING;
  GPIO_InitStruct.Pull = GPIO_PULLDOWN;
  HAL_GPIO_Init(GPIOD, &GPIO_InitStruct);

  /* EXTI interrupt init*/
  HAL_NVIC_SetPriority(EXTI0_IRQn, 1, 0);
  HAL_NVIC_EnableIRQ(EXTI0_IRQn);

  HAL_NVIC_SetPriority(EXTI1_IRQn, 1, 0);
  HAL_NVIC_EnableIRQ(EXTI1_IRQn);

  HAL_NVIC_SetPriority(EXTI2_TSC_IRQn, 1, 0);
  HAL_NVIC_EnableIRQ(EXTI2_TSC_IRQn);

  HAL_NVIC_SetPriority(EXTI3_IRQn, 1, 0);
  HAL_NVIC_EnableIRQ(EXTI3_IRQn);

}

void Error_Handler(void)
{
  __disable_irq();
  while (1)
  {
  }
}

/************************ (C) COPYRIGHT STMicroelectronics *****END OF FILE****/
